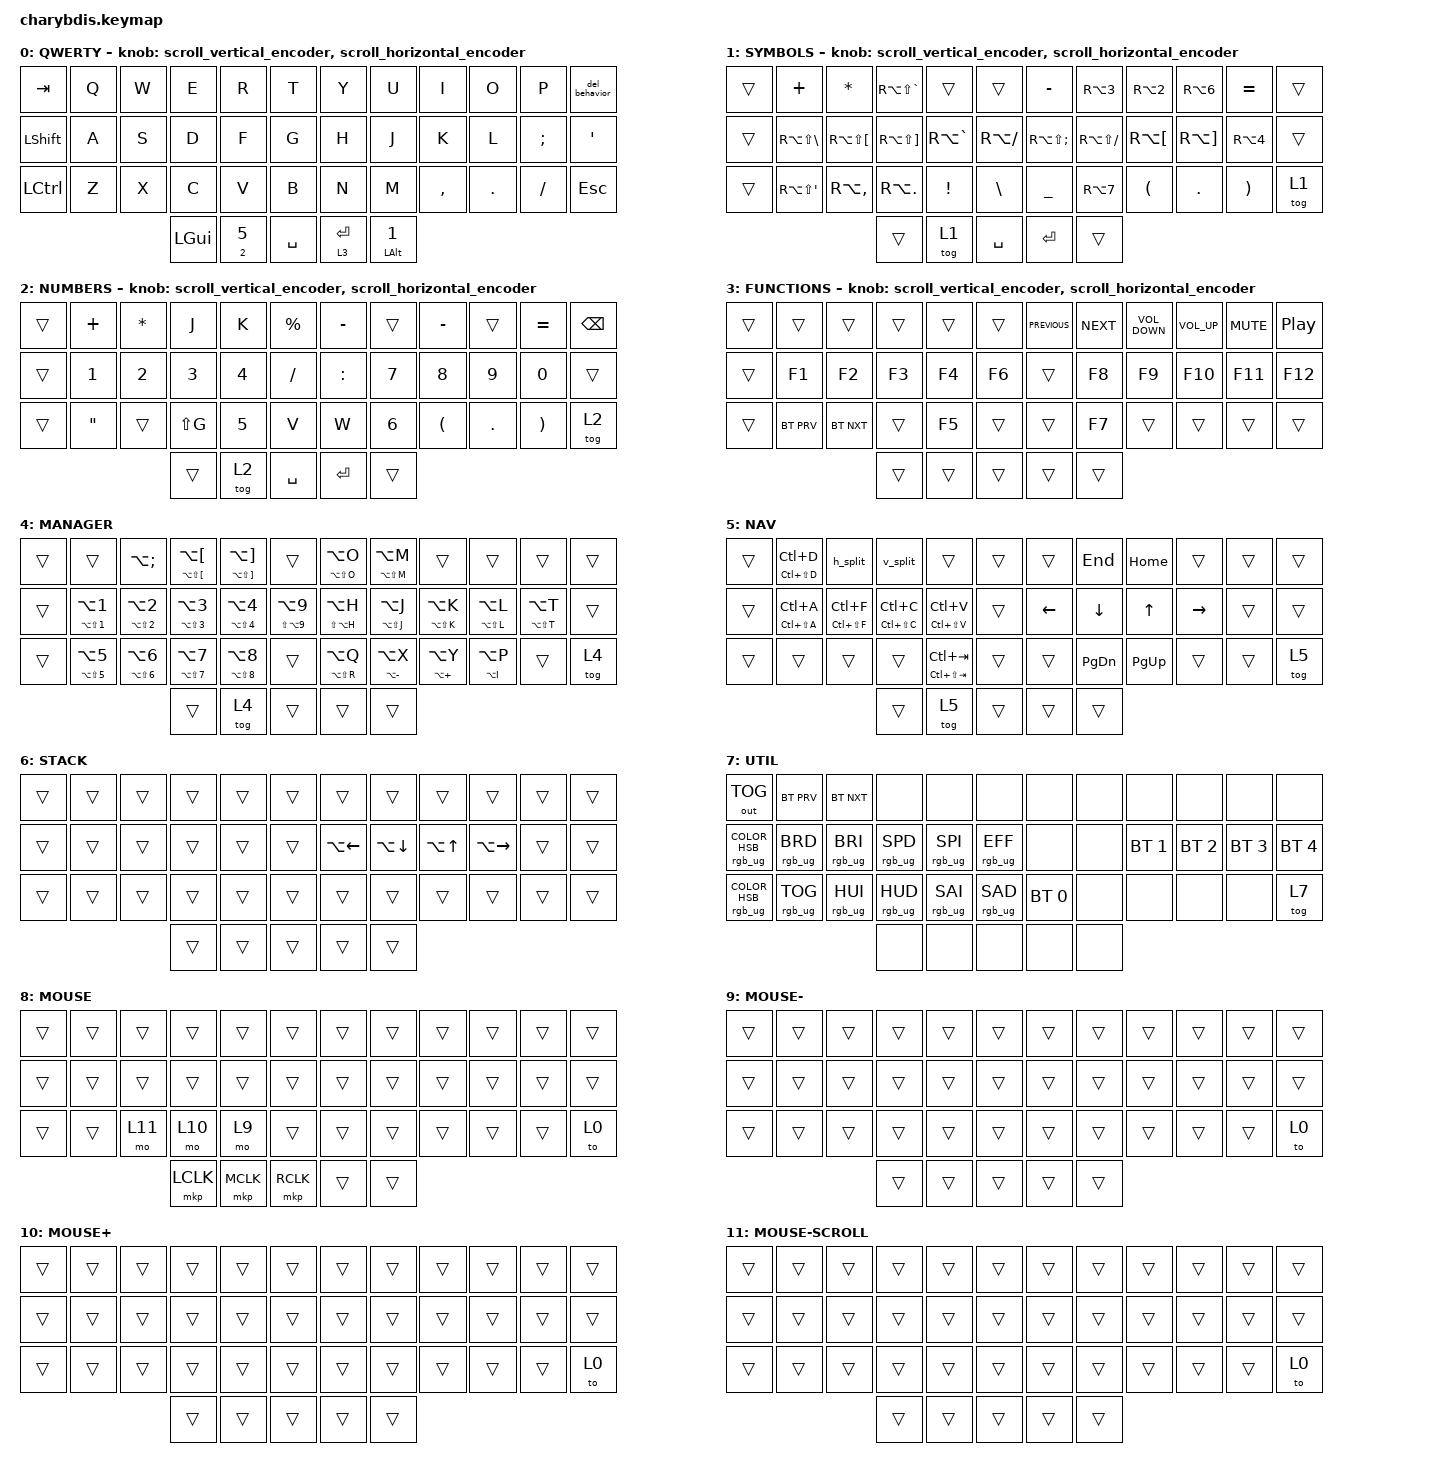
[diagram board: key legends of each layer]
#include <dt-bindings/zmk/mouse.h>
#include <input/processors.dtsi>
#include <zephyr/dt-bindings/input/input-event-codes.h>
#include <behaviors/num_word.dtsi>
#include <behaviors.dtsi>
#include <dt-bindings/zmk/bt.h>
#include <dt-bindings/zmk/keys.h>
#include <dt-bindings/zmk/outputs.h>
#include <dt-bindings/zmk/pointing.h>
#include <dt-bindings/zmk/rgb.h>

/ {
    tapping-term-ms = <200>;
    flavor = "balanced";
    quick-tap-ms = <150>;
};

&mmv_input_listener { input-processors = <&zip_xy_scaler 2 1>; };

&msc_input_listener { input-processors = <&zip_scroll_scaler 2 1>; };

&msc {
    acceleration-exponent = <1>;
    time-to-max-speed-ms = <100>;
    delay-ms = <0>;
};

&mmv {
    time-to-max-speed-ms = <500>;
    acceleration-exponent = <1>;
    trigger-period-ms = <16>;
};

&soft_off { hold-time-ms = <2000>; };

/ {
    scroll_vertical_encoder: scroll_vertical_encoder {
        compatible = "zmk,behavior-sensor-rotate";
        #sensor-binding-cells = <0>;
        bindings = <&msc SCRL_DOWN>, <&msc SCRL_UP>;

        tap-ms = <100>;
    };

    scroll_horizontal_encoder: scroll_horizontal_encoder {
        compatible = "zmk,behavior-sensor-rotate";
        #sensor-binding-cells = <0>;
        bindings = <&msc SCRL_LEFT>, <&msc SCRL_RIGHT>;

        tap-ms = <100>;
    };

    behaviors {
        smart_num_nav: smart_num_nav {
            compatible = "zmk,behavior-hold-tap";
            #binding-cells = <2>;
            flavor = "tap-preferred";
            tapping-term-ms = <200>;
            bindings = <&num_word_backspace>, <&nav_word>;

            display-name = "Smart Num/Nav";
        };

        nav_word: nav_word {
            compatible = "zmk,behavior-auto-layer";
            #binding-cells = <1>;
            continue-list = <LEFT DOWN UP RIGHT PG_DN PG_UP HOME END>;
            ignore-modifiers;
        };

        num_word_backspace: num_word_backspace {
            compatible = "zmk,behavior-auto-layer";
            #binding-cells = <1>;
            continue-list = <
                N1 N2 N3 N4 N5 N6 N7 N8 N9 N0
                NUMBER_1 NUMBER_2 NUMBER_3 NUMBER_4 NUMBER_5
                NUMBER_6 NUMBER_7 NUMBER_8 NUMBER_9 NUMBER_0
                PLUS MINUS ASTERISK SLASH PRCNT EQUAL COLON
                LPAR RPAR LEFT_PARENTHESIS RIGHT_PARENTHESIS
                DQT BACKSPACE BSPC
            >;

            ignore-modifiers;
        };

        sym_word: sym_word {
            compatible = "zmk,behavior-auto-layer";
            #binding-cells = <1>;
            continue-list = <
                EXCL AT HASH DLLR PRCNT CARET AMPS ASTRK LPAR RPAR
                PLUS MINUS EQUAL UNDER
                LESS_THAN GREATER_THAN SEMICOLON COLON SLASH QMARK SQT DQT
                LEFT_BRACKET RIGHT_BRACKET LEFT_BRACE RIGHT_BRACE
                BACKSLASH PIPE GRAVE TILDE BACKSPACE BSPC
                N1 N2 N3 N4 N5 N6 N7 N8 N9 N0
                LBKT RBKT BSLH SEMI COMMA PERIOD FSLH
            >;

            ignore-modifiers;
        };

        win_word: win_word {
            compatible = "zmk,behavior-auto-layer";
            #binding-cells = <1>;
            continue-list = <
                SEMICOLON LEFT_BRACKET RIGHT_BRACKET
                O M
                N1 N2 N3 N4 N5 N6 N7 N8 N9
                H J K L T
                Q P I
                X Y
                MINUS PLUS BACKSPACE BSPC
            >;

            ignore-modifiers;
        };

        del_behavior: del_behavior {
            compatible = "zmk,behavior-mod-morph";
            label = "DEL_BEHAVIOR";
            bindings = <&kp BACKSPACE>, <&kp DELETE>;

            #binding-cells = <0>;
            mods = <(MOD_LALT)>;
        };

        dot_overwrite: dot_overwrite {
            compatible = "zmk,behavior-mod-morph";
            label = "DOT_OVERWRITE";
            bindings = <&kp PERIOD>, <&kp COMMA>;

            #binding-cells = <0>;
            mods = <(MOD_LSFT)>;
        };

        smart_sym_alt: smart_sym_alt {
            compatible = "zmk,behavior-hold-tap";
            #binding-cells = <2>;
            flavor = "tap-preferred";
            tapping-term-ms = <200>;
            bindings = <&kp &sym_word>;
            display-name = "Smart Sym/Alt";
        };
    };

    combos {
        compatible = "zmk,combos";

        softoff {
            bindings = <&soft_off>;
            key-positions = <1 14 25>;
        };

        caps_word_combo {
            bindings = <&caps_word>;
            key-positions = <37 40>;
            layers = <0>;
        };

        lpkt {
            bindings = <&kp LEFT_PARENTHESIS>;
            key-positions = <4 5>;
            layers = <0>;
        };

        lbrt {
            bindings = <&kp LEFT_BRACKET>;
            key-positions = <17 16>;
            layers = <0>;
        };

        lbrs {
            bindings = <&kp LEFT_BRACE>;
            key-positions = <29 28>;
            layers = <0>;
        };

        rpkt {
            bindings = <&kp RIGHT_PARENTHESIS>;
            key-positions = <6 7>;
            layers = <0>;
        };

        rbrt {
            bindings = <&kp RIGHT_BRACKET>;
            key-positions = <19 18>;
            layers = <0>;
        };

        rbrs {
            bindings = <&kp RIGHT_BRACE>;
            key-positions = <30 31>;
            layers = <0>;
        };

        qw_esc {
            bindings = <&kp ESC>;
            key-positions = <1 2>;
            layers = <0>;
        };

        to_util_left {
            bindings = <&tog 7>;
            key-positions = <0 5 37>;
            layers = <0>;
        };

        to_util_right {
            bindings = <&tog 7>;
            key-positions = <6 11 40>;
            layers = <0>;
        };

        from_util_left {
            bindings = <&tog 7>;
            key-positions = <0 5 37>;
            layers = <7>;
        };

        from_util_right {
            bindings = <&tog 7>;
            key-positions = <6 11 40>;
            layers = <7>;
        };

        shrug_combo {
            bindings = <&shrug>;
            key-positions = <2 3 4>;
            layers = <1>;
        };

        sys_reset_left {
            bindings = <&sys_reset>;
            key-positions = <0 12>;
            layers = <7>;
        };

        bootloader_left {
            bindings = <&bootloader>;
            key-positions = <12 24>;
            layers = <7>;
        };

        sys_reset_right {
            bindings = <&sys_reset>;
            key-positions = <11 23>;
            layers = <7>;
        };

        bootloader_right {
            bindings = <&bootloader>;
            key-positions = <11 35>;
            layers = <7>;
        };

        bt_clear {
            bindings = <&bt BT_CLR_ALL>;
            key-positions = <4 3 2>;
            layers = <7>;
        };

        bt_clear_curr {
            bindings = <&bt BT_CLR>;
            key-positions = <14 15 16>;
            layers = <7>;
        };

        new_q {
            bindings = <&kp Q>;
            key-positions = <2 3>;
            layers = <0>;
        };

        new_z {
            bindings = <&kp Z>;
            key-positions = <3 4>;
            layers = <0>;
        };

        new_del {
            bindings = <&kp DEL>;
            key-positions = <2 3 4>;
            layers = <0>;
        };

        gth {
            bindings = <&gth>;
            key-positions = <4 16>;
            layers = <0>;
        };

        lthc {
            bindings = <&lth>;
            key-positions = <16 28>;
            layers = <0>;
        };

        h_tagc {
            bindings = <&h_tag>;
            key-positions = <7 19>;
        };

        arrowc {
            bindings = <&arrow>;
            key-positions = <8 20>;
        };

        to_win {
            bindings = <&win_word 4>;
            key-positions = <15 20>;
        };

        bksp_new {
            bindings = <&kp BACKSPACE>;
            key-positions = <32 33>;
        };

        to0 {
            bindings = <&to 0>;
            key-positions = <26 27>;
        };
    };

    macros {
        shrug: shrug {
            compatible = "zmk,behavior-macro";
            #binding-cells = <0>;
            bindings = <&macro_tap>, <&kp SEMI &kp S &kp H &kp R &kp U &kp G>;
        };

        gth: gth {
            compatible = "zmk,behavior-macro";
            #binding-cells = <0>;
            bindings = <&kp GT &kp EQUAL>;
            label = "GTH";
        };

        lth: lth {
            compatible = "zmk,behavior-macro";
            #binding-cells = <0>;
            bindings = <&kp LT &kp EQUAL>;
            label = "LTH";
        };

        arrow: arrow {
            compatible = "zmk,behavior-macro";
            #binding-cells = <0>;
            bindings = <&kp EQUAL &kp GT>;
            label = "ARROW";
        };

        h_tag: h_tag {
            compatible = "zmk,behavior-macro";
            #binding-cells = <0>;
            bindings = <&kp POUND>;
            label = "H_TAG";
        };

        v_split: v_split {
            compatible = "zmk,behavior-macro";
            #binding-cells = <0>;
            bindings = <&macro_tap>, <&kp LC(B) &kp PRCNT>;

            label = "V_SPLIT";
        };

        h_split: h_split {
            compatible = "zmk,behavior-macro";
            #binding-cells = <0>;
            bindings = <&macro_tap>, <&kp LC(B) &kp DQT>;

            label = "H_SPLIT";
        };
    };

    keymap {
        compatible = "zmk,keymap";

        layer_0 {
            display-name = "QWERTY";
            bindings = <
&kp TAB    &kp Q  &kp W  &kp E     &kp R               &kp T        &kp Y        &kp U                      &kp I      &kp O       &kp P     &del_behavior
&kp LSHFT  &kp A  &kp S  &kp D     &kp F               &kp G        &kp H        &kp J                      &kp K      &kp L       &kp SEMI  &kp SQT
&kp LCTRL  &kp Z  &kp X  &kp C     &kp V               &kp B        &kp N        &kp M                      &kp COMMA  &kp PERIOD  &kp FSLH  &kp ESC
                         &kp LGUI  &smart_num_nav 2 5  &kp SPACE    &lt 3 ENTER  &smart_sym_alt LEFT_ALT 1
            >;

            sensor-bindings =
                <&scroll_vertical_encoder>,
                <&scroll_horizontal_encoder>;
        };

        layer_1 {
            display-name = "SYMBOLS";
            bindings = <
&trans  &kp PLUS          &kp ASTRK         &kp RA(LS(GRAVE))  &trans         &trans          &kp MINUS         &kp RA(N3)        &kp RA(N2)    &kp RA(N6)    &kp EQUAL              &trans
&trans  &kp RA(LS(BSLH))  &kp RA(LS(LBKT))  &kp RA(LS(RBKT))   &kp RA(GRAVE)  &kp RA(FSLH)    &kp RA(LS(SEMI))  &kp RA(LS(FSLH))  &kp RA(LBKT)  &kp RA(RBKT)  &kp RA(N4)             &trans
&trans  &kp RA(LS(SQT))   &kp RA(COMMA)     &kp RA(PERIOD)     &kp EXCL       &kp BSLH        &kp UNDER         &kp RA(N7)        &kp LPAR      &kp PERIOD    &kp RIGHT_PARENTHESIS  &tog 1
                                            &trans             &tog 1         &kp SPACE       &kp ENTER         &trans
            >;

            sensor-bindings =
                <&scroll_vertical_encoder>,
                <&scroll_horizontal_encoder>;
        };

        layer_2 {
            display-name = "NUMBERS";
            bindings = <
&trans  &kp PLUS  &kp ASTERISK  &kp J      &kp K   &kp PRCNT    &kp MINUS  &trans  &kp MINUS  &trans      &kp EQUAL              &kp BSPC
&trans  &kp N1    &kp N2        &kp N3     &kp N4  &kp SLASH    &kp COLON  &kp N7  &kp N8     &kp N9      &kp N0                 &trans
&trans  &kp DQT   &trans        &kp LS(G)  &kp N5  &kp V        &kp W      &kp N6  &kp LPAR   &kp PERIOD  &kp RIGHT_PARENTHESIS  &tog 2
                                &trans     &tog 2  &kp SPACE    &kp ENTER  &trans
            >;

            sensor-bindings =
                <&scroll_vertical_encoder>,
                <&scroll_horizontal_encoder>;
        };

        layer_3 {
            display-name = "FUNCTIONS";
            bindings = <
&trans  &trans      &trans      &trans  &trans  &trans    &kp C_PREVIOUS  &kp C_NEXT  &kp C_VOLUME_DOWN  &kp C_VOLUME_UP  &kp C_MUTE  &kp C_PLAY_PAUSE
&trans  &kp F1      &kp F2      &kp F3  &kp F4  &kp F6    &trans          &kp F8      &kp F9             &kp F10          &kp F11     &kp F12
&trans  &bt BT_PRV  &bt BT_NXT  &trans  &kp F5  &trans    &trans          &kp F7      &trans             &trans           &trans      &trans
                                &trans  &trans  &trans    &trans          &trans
            >;

            sensor-bindings =
                <&scroll_vertical_encoder>,
                <&scroll_horizontal_encoder>;
        };

        layer_4 {
            display-name = "MANAGER";
            bindings = <
&trans  &trans                 &kp LA(SEMI)                       &mt LA(LS(LBKT)) LA(LBKT)  &mt LA(LS(RBKT)) LA(RBKT)  &trans                   &mt LA(LS(O)) LA(O)  &mt LA(LS(M)) LA(M)  &trans               &trans               &trans               &trans
&trans  &mt LA(LS(N1)) LA(N1)  &mt LA(LS(N2)) LA(N2)              &mt LA(LS(N3)) LA(N3)      &mt LA(LS(N4)) LA(N4)      &mt LS(LA(N9)) LA(N9)    &mt LS(LA(H)) LA(H)  &mt LA(LS(J)) LA(J)  &mt LA(LS(K)) LA(K)  &mt LA(LS(L)) LA(L)  &mt LA(LS(T)) LA(T)  &trans
&trans  &mt LA(LS(N5)) LA(N5)  &mt LA(LS(NUMBER_6)) LA(NUMBER_6)  &mt LA(LS(N7)) LA(N7)      &mt LA(LS(N8)) LA(N8)      &trans                   &mt LA(LS(R)) LA(Q)  &mt LA(MINUS) LA(X)  &mt LA(PLUS) LA(Y)   &mt LA(I) LA(P)      &trans               &tog 4
                                                                  &trans                     &tog 4                     &trans                   &trans               &trans
            >;
        };

        layer_5 {
            display-name = "NAV";
            bindings = <
&trans  &mt LC(LS(D)) LC(D)  &h_split             &v_split             &trans                   &trans    &trans    &kp END    &kp HOME   &trans     &trans  &trans
&trans  &mt LC(LS(A)) LC(A)  &mt LC(LS(F)) LC(F)  &mt LC(LS(C)) LC(C)  &mt LC(LS(V)) LC(V)      &trans    &kp LEFT  &kp DOWN   &kp UP     &kp RIGHT  &trans  &trans
&trans  &trans               &trans               &trans               &mt LC(LS(TAB)) LC(TAB)  &trans    &trans    &kp PG_DN  &kp PG_UP  &trans     &trans  &tog 5
                                                  &trans               &tog 5                   &trans    &trans    &trans
            >;
        };

        layer_6 {
            display-name = "STACK";
            bindings = <
&trans  &trans  &trans  &trans  &trans  &trans    &trans        &trans        &trans      &trans         &trans  &trans
&trans  &trans  &trans  &trans  &trans  &trans    &kp LA(LEFT)  &kp LA(DOWN)  &kp LA(UP)  &kp LA(RIGHT)  &trans  &trans
&trans  &trans  &trans  &trans  &trans  &trans    &trans        &trans        &trans      &trans         &trans  &trans
                        &trans  &trans  &trans    &trans        &trans
            >;
        };

        layer_7 {
            display-name = "UTIL";
            bindings = <
&out OUT_TOG                      &bt BT_PRV       &bt BT_NXT       &none            &none            &none              &none         &none  &none         &none         &none         &none
&rgb_ug RGB_COLOR_HSB(256,64,46)  &rgb_ug RGB_BRD  &rgb_ug RGB_BRI  &rgb_ug RGB_SPD  &rgb_ug RGB_SPI  &rgb_ug RGB_EFF    &none         &none  &bt BT_SEL 1  &bt BT_SEL 2  &bt BT_SEL 3  &bt BT_SEL 4
&rgb_ug RGB_COLOR_HSB(202,73,53)  &rgb_ug RGB_TOG  &rgb_ug RGB_HUI  &rgb_ug RGB_HUD  &rgb_ug RGB_SAI  &rgb_ug RGB_SAD    &bt BT_SEL 0  &none  &none         &none         &none         &tog 7
                                                                    &none            &none            &none              &none         &none
            >;
        };

        layer_8 {
            display-name = "MOUSE";
            bindings = <
&trans  &trans  &trans  &trans     &trans     &trans       &trans  &trans  &trans  &trans  &trans  &trans
&trans  &trans  &trans  &trans     &trans     &trans       &trans  &trans  &trans  &trans  &trans  &trans
&trans  &trans  &mo 11  &mo 10     &mo 9      &trans       &trans  &trans  &trans  &trans  &trans  &to 0
                        &mkp LCLK  &mkp MCLK  &mkp RCLK    &trans  &trans
            >;
        };

        layer_9 {
            display-name = "MOUSE-";
            bindings = <
&trans  &trans  &trans  &trans  &trans  &trans    &trans  &trans  &trans  &trans  &trans  &trans
&trans  &trans  &trans  &trans  &trans  &trans    &trans  &trans  &trans  &trans  &trans  &trans
&trans  &trans  &trans  &trans  &trans  &trans    &trans  &trans  &trans  &trans  &trans  &to 0
                        &trans  &trans  &trans    &trans  &trans
            >;
        };

        layer_10 {
            display-name = "MOUSE+";
            bindings = <
&trans  &trans  &trans  &trans  &trans  &trans    &trans  &trans  &trans  &trans  &trans  &trans
&trans  &trans  &trans  &trans  &trans  &trans    &trans  &trans  &trans  &trans  &trans  &trans
&trans  &trans  &trans  &trans  &trans  &trans    &trans  &trans  &trans  &trans  &trans  &to 0
                        &trans  &trans  &trans    &trans  &trans
            >;
        };

        layer_11 {
            display-name = "MOUSE-SCROLL";
            bindings = <
&trans  &trans  &trans  &trans  &trans  &trans    &trans  &trans  &trans  &trans  &trans  &trans
&trans  &trans  &trans  &trans  &trans  &trans    &trans  &trans  &trans  &trans  &trans  &trans
&trans  &trans  &trans  &trans  &trans  &trans    &trans  &trans  &trans  &trans  &trans  &to 0
                        &trans  &trans  &trans    &trans  &trans
            >;
        };
    };
};
